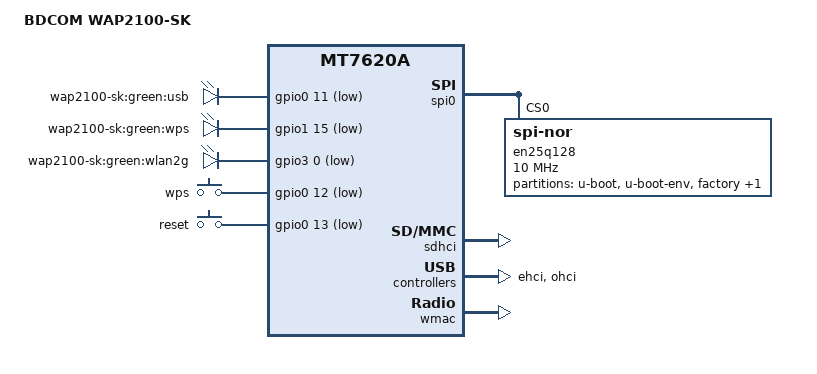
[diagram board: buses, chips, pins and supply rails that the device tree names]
/dts-v1/;

#include "mt7620a.dtsi"

#include <dt-bindings/gpio/gpio.h>
#include <dt-bindings/input/input.h>

/ {
	compatible = "bdcom,bdcom-wap2100-sk", "ralink,mt7620a-soc";
	model = "BDCOM WAP2100-SK";

	chosen {
		bootargs = "console=ttyS0,115200";
	};

	gpio-leds {
		compatible = "gpio-leds";

		usb {
			label = "wap2100-sk:green:usb";
			gpios = <&gpio0 11 GPIO_ACTIVE_LOW>;
		};

		wps {
			label = "wap2100-sk:green:wps";
			gpios = <&gpio1 15 GPIO_ACTIVE_LOW>;
		};

		wlan2g {
			label = "wap2100-sk:green:wlan2g";
			gpios = <&gpio3 0 GPIO_ACTIVE_LOW>;
		};
	};

	gpio-keys-polled {
		compatible = "gpio-keys-polled";
		#address-cells = <1>;
		#size-cells = <0>;
		poll-interval = <20>;

		wps {
			label = "wps";
			gpios = <&gpio0 12 GPIO_ACTIVE_LOW>;
			linux,code = <KEY_WPS_BUTTON>;
		};

		reset {
			label = "reset";
			gpios = <&gpio0 13 GPIO_ACTIVE_LOW>;
			linux,code = <KEY_RESTART>;
		};
	};
};

&spi0 {
	status = "okay";

	en25q128@0 {
		#address-cells = <1>;
		#size-cells = <1>;
		compatible = "jedec,spi-nor";
		reg = <0>;
		spi-max-frequency = <10000000>;

		partition@0 {
			label = "u-boot";
			reg = <0x0 0x30000>;
			read-only;
		};

		partition@30000 {
			label = "u-boot-env";
			reg = <0x30000 0x10000>;
			read-only;
		};

		factory: partition@40000 {
			label = "factory";
			reg = <0x40000 0x10000>;
			read-only;
		};

		firmware: partition@50000 {
			label = "firmware";
			reg = <0x50000 0xf70000>;
		};
	};
};

&gpio0 {
	status = "okay";
};

&gpio1 {
	status = "okay";
};

&gpio3 {
	status = "okay";
};

&sdhci {
	status = "okay";
};

&ehci {
	status = "okay";
};

&ohci {
	status = "okay";
};

&ethernet {
	mtd-mac-address = <&factory 0x4>;
	mediatek,portmap = "llllw";
};

&wmac {
	ralink,mtd-eeprom = <&factory 0>;
};

&pinctrl {
	state_default: pinctrl0 {
		default {
			ralink,group = "wdt", "mdio", "spi refclk", "uartf", "wled";
			ralink,function = "gpio";
		};
	};
};
